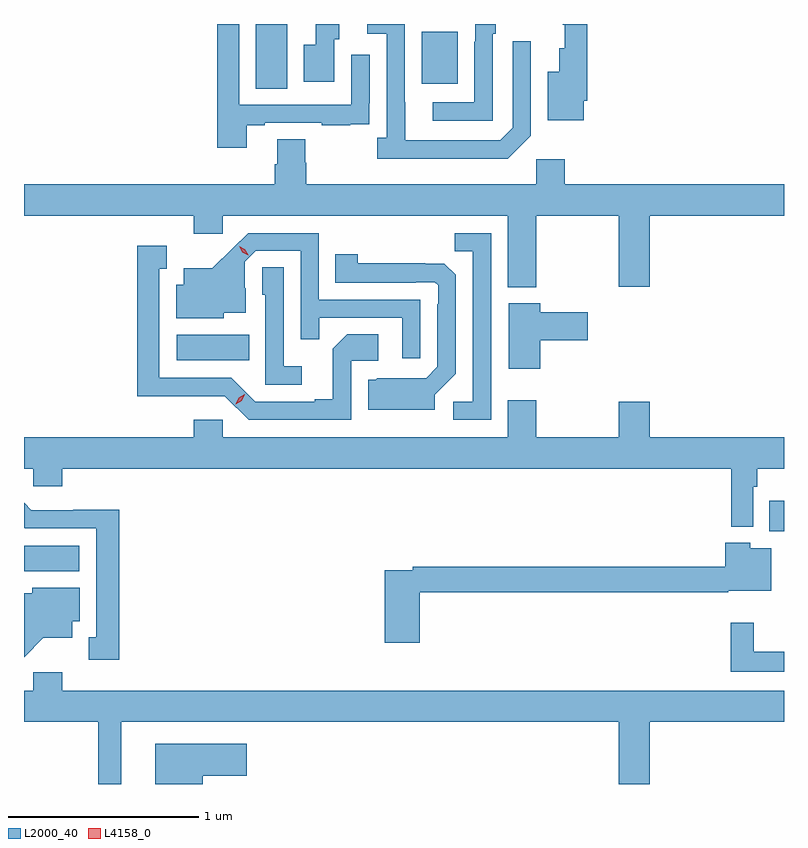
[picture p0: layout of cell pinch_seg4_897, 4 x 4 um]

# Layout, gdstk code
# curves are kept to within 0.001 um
import gdstk
lib = gdstk.Library(unit=1e-6, precision=1e-09)
def R(c, l, rs):  # rectangles x0, y0, x1, y1
    for r in rs: c.add(gdstk.rectangle(r[:2], r[2:], *l))
def P(c, l, *ps):  # polygons
    for p in ps: c.add(gdstk.Polygon(p, *l))
L2000_40 = (2000, 40)
L4158_0 = (4158, 0)

pinch_seg4_897 = lib.new_cell('pinch_seg4_897')
R(pinch_seg4_897, L2000_40, [(749.291,821.588,749.581,821.722), (753.214,821.798,753.291,821.959), (750.096,822.698,750.476,822.832), (750.512,824.128,750.676,824.468), (751.385,824.153,751.573,824.428)])
P(pinch_seg4_897, L2000_40, [(751.758,824.417),(751.773,824.417),(751.773,824.468),(751.665,824.468),(751.665,824.375),(751.662,824.375),(751.662,824.055),(751.443,824.055),(751.443,823.959),(751.758,823.959)],
  [(750.463,823.935),(750.559,823.935),(750.559,823.947),(750.859,823.947),(750.859,823.935),(751.007,823.935),(751.007,823.941),(751.109,823.941),(751.109,824.05),(751.11,824.05),(751.11,824.305),(751.014,824.305),(751.014,824.043),(750.423,824.043),(750.423,824.468),(750.307,824.468),(750.307,823.818),(750.463,823.818)],
  [(750.925,824.388),(750.949,824.388),(750.949,824.468),(750.827,824.468),(750.827,824.359),(750.764,824.359),(750.764,824.163),(750.925,824.163)],
  [(751.959,823.881),(751.959,824.377),(751.863,824.377),(751.863,823.923),(751.797,823.857),(751.297,823.857),(751.296,824.468),(751.098,824.468),(751.098,824.418),(751.2,824.418),(751.2,823.87),(751.149,823.87),(751.149,823.76),(751.838,823.76)],
  [(752.236,824.065),(752.255,824.065),(752.255,824.468),(752.127,824.468),(752.127,824.463),(752.138,824.463),(752.138,824.341),(752.108,824.341),(752.108,824.218),(752.048,824.218),(752.048,823.961),(752.236,823.961)],
  [(751.986,823.46),(752.42,823.46),(752.42,823.086),(752.584,823.086),(752.584,823.46),(753.291,823.46),(753.291,823.624),(752.138,823.624),(752.138,823.756),(751.986,823.756),(751.986,823.624),(750.776,823.624),(750.776,823.737),(750.771,823.737),(750.771,823.862),(750.623,823.862),(750.623,823.73),(750.611,823.73),(750.611,823.624),(749.291,823.624),(749.291,823.46),(750.185,823.46),(750.185,823.365),(750.336,823.365),(750.336,823.46),(751.838,823.46),(751.838,823.082),(751.986,823.082)],
  [(751.377,823.017),(750.843,823.017),(750.843,823.368),(750.47,823.368),(750.283,823.183),(750.131,823.183),(750.131,823.096),(750.092,823.096),(750.092,822.92),(750.342,822.92),(750.342,822.947),(750.457,822.947),(750.457,823.076),(750.453,823.076),(750.453,823.218),(750.51,823.275),(750.747,823.275),(750.747,822.808),(750.845,822.808),(750.845,822.921),(751.281,822.921),(751.281,822.708),(751.377,822.708)],
  [(751.749,823.368),(751.558,823.368),(751.558,823.273),(751.653,823.273),(751.653,822.48),(751.551,822.48),(751.551,822.384),(751.749,822.384)],
  [(751.014,822.696),(751.156,822.696),(751.156,822.836),(750.991,822.836),(750.915,822.76),(750.915,822.493),(750.821,822.493),(750.821,822.48),(750.507,822.48),(750.381,822.606),(750.004,822.606),(750.004,823.179),(750.043,823.179),(750.043,823.3),(749.886,823.3),(749.886,822.509),(750.348,822.51),(750.474,822.384),(751.014,822.384)],
  [(751.453,822.516),(751.563,822.626),(751.563,823.148),(751.504,823.207),(751.047,823.208),(751.047,823.255),(750.928,823.255),(750.928,823.107),(751.352,823.107),(751.352,823.11),(751.452,823.11),(751.47,823.092),(751.47,822.992),(751.467,822.992),(751.467,822.663),(751.407,822.603),(751.15,822.604),(751.141,822.595),(751.103,822.595),(751.103,822.437),(751.453,822.437)],
  [(750.754,822.667),(750.657,822.667),(750.657,823.187),(750.546,823.187),(750.546,823.044),(750.561,823.044),(750.561,822.57),(750.754,822.57)],
  [(752.008,822.803),(752.257,822.803),(752.257,822.95),(752.008,822.95),(752.008,822.997),(751.841,822.997),(751.841,822.654),(752.008,822.654)],
  [(753.129,822.032),(753.149,822.032),(753.149,822.128),(753.291,822.128),(753.291,822.292),(752.584,822.292),(752.584,822.481),(752.42,822.481),(752.42,822.292),(751.986,822.292),(751.986,822.487),(751.838,822.487),(751.838,822.292),(750.336,822.292),(750.336,822.385),(750.185,822.385),(750.185,822.292),(749.291,822.292),(749.291,822.128),(749.34,822.128),(749.34,822.035),(749.492,822.035),(749.492,822.128),(753.013,822.128),(753.013,821.822),(753.129,821.822)],
  [(749.791,821.912),(749.55,821.912),(749.55,821.91),(749.328,821.91),(749.291,821.947),(749.291,821.818),(749.295,821.814),(749.672,821.814),(749.672,821.241),(749.633,821.241),(749.633,821.121),(749.791,821.121)],
  [(751.373,821.476),(752.997,821.476),(752.997,821.486),(753.223,821.486),(753.223,821.71),(753.114,821.71),(753.114,821.737),(752.981,821.737),(752.981,821.612),(751.336,821.612),(751.336,821.592),(751.19,821.592),(751.19,821.211),(751.373,821.211)],
  [(749.393,821.237),(749.545,821.237),(749.545,821.324),(749.584,821.324),(749.584,821.5),(749.334,821.5),(749.334,821.473),(749.291,821.473),(749.291,821.136)],
  [(753.291,821.164),(753.133,821.164),(753.133,821.317),(753.012,821.317),(753.012,821.06),(753.291,821.06)],
  [(749.803,820.796),(752.42,820.796),(752.42,820.468),(752.584,820.468),(752.584,820.796),(753.291,820.796),(753.291,820.96),(749.492,820.96),(749.492,821.056),(749.34,821.056),(749.34,820.96),(749.291,820.96),(749.291,820.796),(749.682,820.796),(749.682,820.468),(749.803,820.468)],
  [(750.232,820.511),(750.463,820.511),(750.463,820.681),(749.981,820.681),(749.981,820.468),(750.232,820.468)])
P(pinch_seg4_897, L4158_0, [(750.471,823.252),(750.44,823.268),(750.423,823.298),(750.423,823.298),(750.423,823.298),(750.454,823.282),(750.471,823.253),(750.471,823.252)],
  [(750.405,822.468),(750.405,822.468),(750.422,822.5),(750.454,822.519),(750.454,822.519),(750.454,822.519),(750.437,822.486),(750.405,822.468)])

lib.write_gds('pinch_seg4_897.gds')
